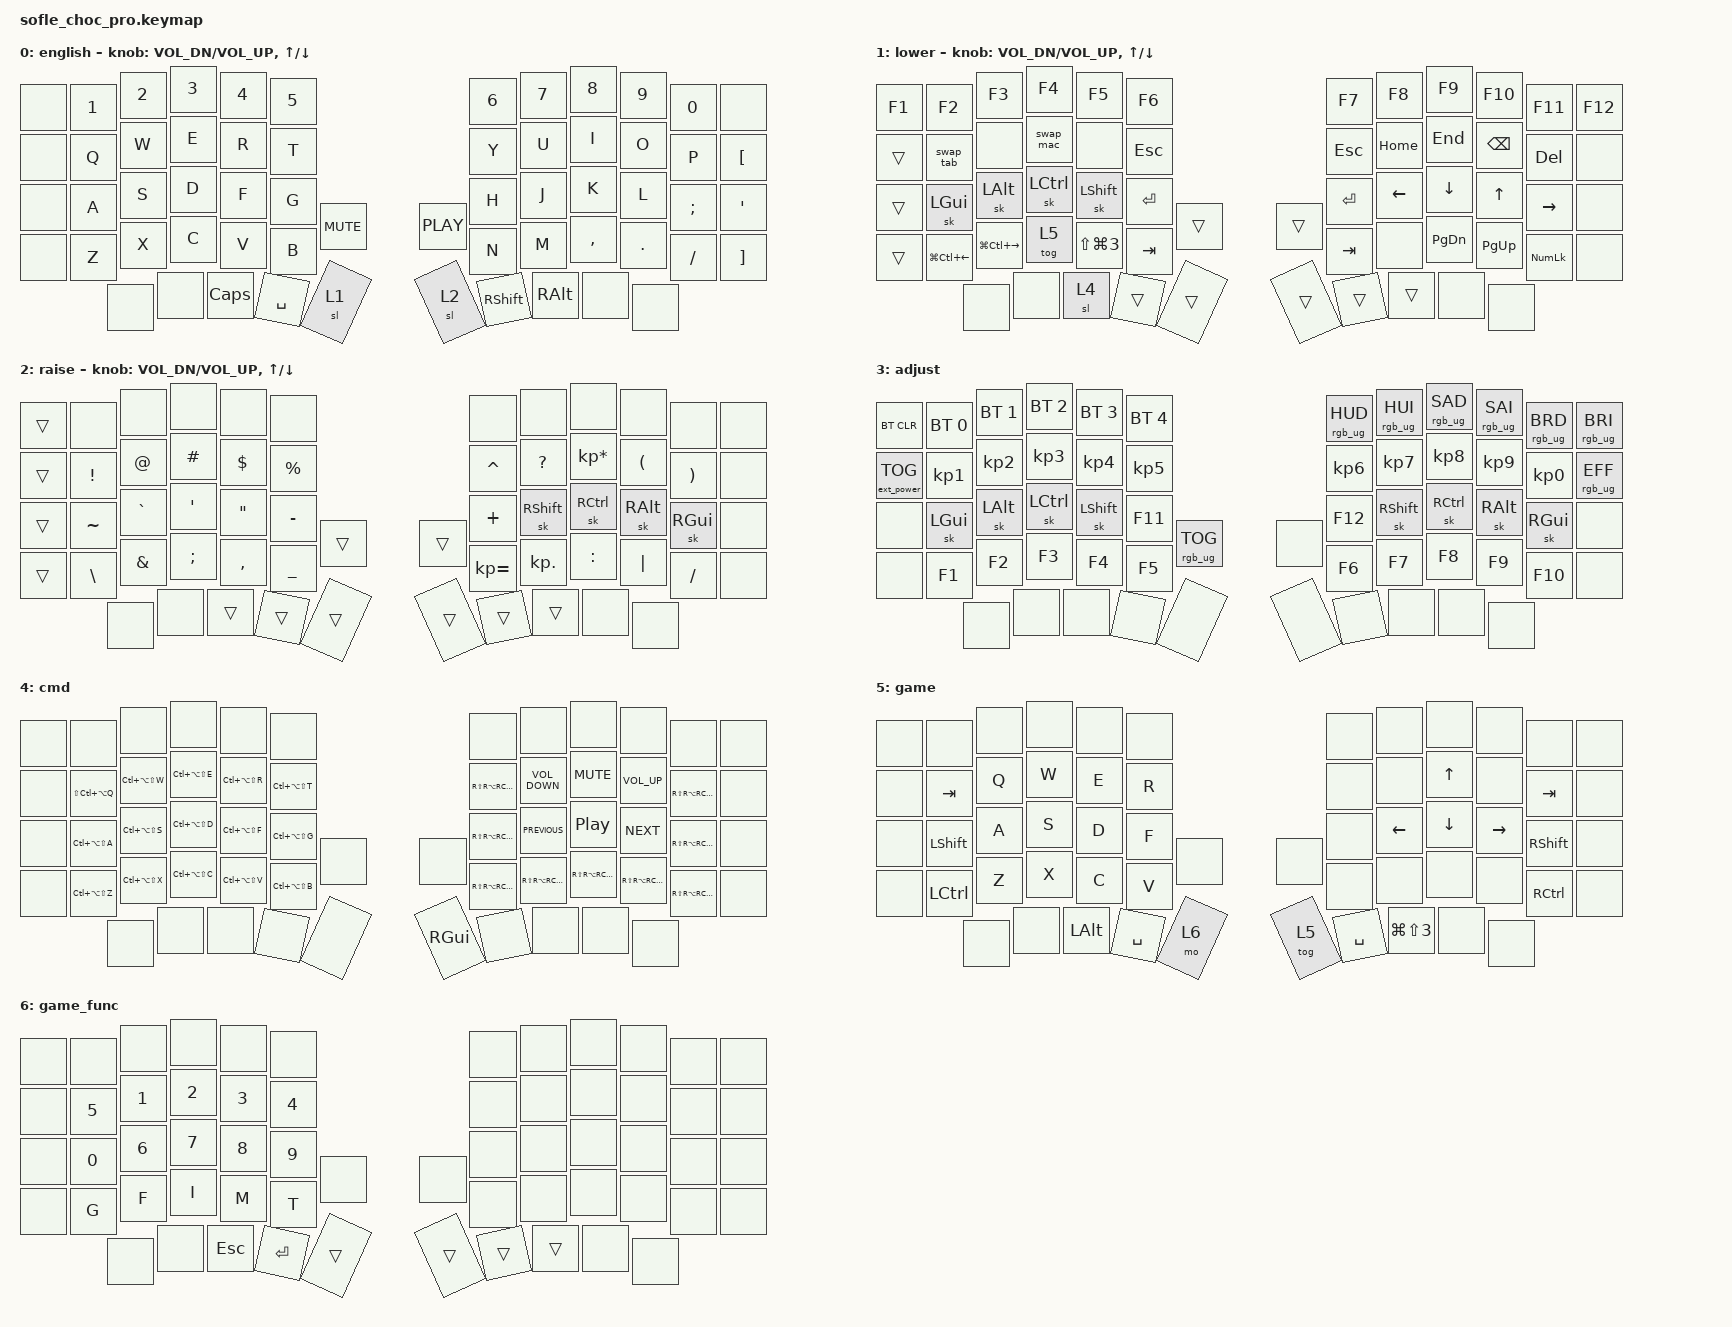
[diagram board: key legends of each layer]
/*
* Copyright (c) 2020 The ZMK Contributors
*
* SPDX-License-Identifier: MIT
*/

#include <behaviors.dtsi>
#include <dt-bindings/zmk/bt.h>
#include <dt-bindings/zmk/ext_power.h>
#include <dt-bindings/zmk/keys.h>
#include <dt-bindings/zmk/rgb.h>

#define ENGLISH 0
#define LOWER 1
#define RAISE 2
#define ADJUST 3

&mt { flavor = "balanced"; };

/ {
    // Activate ADJUST layer by pressing raise and lower

    conditional_layers {
        compatible = "zmk,conditional-layers";

        adjust_layer {
            if-layers = <1 2>;
            then-layer = <3>;
        };
    };

    macros {
        nspc: nspc {
            compatible = "zmk,behavior-macro";
            #binding-cells = <0>;
            bindings = <&kp LCTRL &kp LEFT_GUI &kp RIGHT>;
            label = "NSPC";
        };

        pspc: pspc {
            compatible = "zmk,behavior-macro";
            #binding-cells = <0>;
            bindings = <&kp LCTRL &kp LEFT_GUI &kp LEFT>;
            label = "PSPC";
        };

        swap_tab: swap_tab {
            compatible = "zmk,behavior-macro";
            #binding-cells = <0>;
            bindings = <&kp LEFT_ALT &kp TAB>;
            label = "SWAP_TAB";
        };

        swap_mac: swap_mac {
            compatible = "zmk,behavior-macro";
            #binding-cells = <0>;
            bindings = <&kp LEFT_CONTROL &kp TAB>;
            label = "SWAP_MAC";
        };
    };

    keymap {
        compatible = "zmk,keymap";

        default_layer {
            display-name = "english";

            // ------------------------------------------------------------------------------------------------------------
            // |   `   |  1  |  2  |  3   |  4   |  5   |                   |  6   |  7    |  8    |  9   |   0   | BKSPC |
            // |  ESC  |  Q  |  W  |  E   |  R   |  T   |                   |  Y   |  U    |  I    |  O   |   P   | LBKT  |
            // |  TAB  |  A  |  S  |  D   |  F   |  G   |                   |  H   |  J    |  K    |  L   |   ;   |   '   |
            // | SHIFT |  Z  |  X  |  C   |  V   |  B   |  MUTE  |  | PLAY  |  N   |  M    |  ,    |  .   |   /   | RBKT  |
            //               | CTRL| ALT  | GUI  | LOWER|  ENTER |  | SPACE | RAISE|   ,   |   .   |   ?  |

            bindings = <
&none  &kp N1  &kp N2  &kp N3  &kp N4        &kp N5                             &kp N6           &kp N7         &kp N8     &kp N9   &kp N0    &none
&none  &kp Q   &kp W   &kp E   &kp R         &kp T      &kp Y                                    &kp U          &kp I      &kp O    &kp P     &kp LBKT
&none  &kp A   &kp S   &kp D   &kp F         &kp G      &kp H                                    &kp J          &kp K      &kp L    &kp SEMI  &kp SQT
&none  &kp Z   &kp X   &kp C   &kp V         &kp B      &kp C_MUTE  &kp C_PLAY  &kp N            &kp M          &kp COMMA  &kp DOT  &kp FSLH  &kp RBKT
               &none   &none   &kp CAPSLOCK  &kp SPACE  &sl 1       &sl 2       &kp RIGHT_SHIFT  &kp RIGHT_ALT  &none      &none
            >;

            sensor-bindings =
                <&inc_dec_kp C_VOL_DN C_VOL_UP>,
                <&inc_dec_kp UP_ARROW DOWN_ARROW>;
        };

        lower_layer {
            display-name = "lower";

            // ------------------------------------------------------------------------------------------------------------
            // |       |  F1 |  F2 |  F3  |  F4  |  F5  |                   |  F6  |  F7   |  F8   |  F9  |  F10  |  F11  |
            // |   `   |  1  |  2  |  3   |  4   |  5   |                   |  6   |  7    |  8    |  9   |   0   |  F12  |
            // |       |  !  |  @  |  #   |  $   |  %   |                   |  ^   |  &    |  *    |  (   |   )   |   |   |
            // |       |  =  |  -  |  +   |  {   |  }   |        |  |       |  [   |  ]    |  ;    |  :   |   \   |       |
            //               |     |      |      |      |        |  |       |      |       |       |      |

            bindings = <
&kp F1  &kp F2            &kp F3             &kp F4            &kp F5                &kp F6                          &kp F7   &kp F8    &kp F9         &kp F10        &kp F11     &kp F12
&trans  &swap_tab         &none              &swap_mac         &none                 &kp ESCAPE  &kp ESCAPE                   &kp HOME  &kp END        &kp BACKSPACE  &kp DELETE  &none
&trans  &sk LEFT_GUI      &sk LEFT_ALT       &sk LEFT_CONTROL  &sk LEFT_SHIFT        &kp RET     &kp ENTER                    &kp LEFT  &kp DOWN       &kp UP         &kp RIGHT   &none
&trans  &kp LG(LC(LEFT))  &kp LG(LC(RIGHT))  &tog 5            &kp LS(LG(NUMBER_3))  &kp TAB     &trans      &trans  &kp TAB  &none     &kp PAGE_DOWN  &kp PAGE_UP    &kp KP_NUM  &none
                          &none              &none             &sl 4                 &trans      &trans      &trans  &trans   &trans    &none          &none
            >;

            sensor-bindings =
                <&inc_dec_kp C_VOL_DN C_VOL_UP>,
                <&inc_dec_kp UP_ARROW DOWN_ARROW>;
        };

        raise_layer {
            display-name = "raise";

            // ------------------------------------------------------------------------------------------------------------
            // | BTCLR | BT1  | BT2  |  BT3  |  BT4  |  BT5 |                |      |      |       |      |       |       |
            // |       | INS  | PSCR | GUI   |       |      |                | PGUP |      |   ^   |      |       |       |
            // |       | ALT  | CTRL | SHIFT |       | CAPS |                | PGDN |   <- |   v   |  ->  |  DEL  | BKSPC |
            // |       | UNDO | CUT  | COPY  | PASTE |      |      |  |      |      |      |       |      |       |       |
            //                |      |       |       |      |      |  |      |      |      |       |      |

            bindings = <
&trans  &none            &none          &none          &none              &none                           &none         &none            &none              &none                 &none                  &none
&trans  &kp EXCLAMATION  &kp AT_SIGN    &kp HASH       &kp DOLLAR         &kp PERCENT  &kp CARET                        &kp QUESTION     &kp KP_MULTIPLY    &kp LEFT_PARENTHESIS  &kp RIGHT_PARENTHESIS  &none
&trans  &kp TILDE        &kp GRAVE      &kp SQT        &kp DOUBLE_QUOTES  &kp MINUS    &kp PLUS                         &sk RIGHT_SHIFT  &sk RIGHT_CONTROL  &sk RIGHT_ALT         &sk RIGHT_GUI          &none
&trans  &kp BACKSLASH    &kp AMPERSAND  &kp SEMICOLON  &kp COMMA          &kp UNDER    &trans     &trans  &kp KP_EQUAL  &kp KP_DOT       &kp COLON          &kp PIPE              &kp SLASH              &none
                         &none          &none          &trans             &trans       &trans     &trans  &trans        &trans           &none              &none
            >;

            sensor-bindings =
                <&inc_dec_kp C_VOL_DN C_VOL_UP>,
                <&inc_dec_kp UP_ARROW DOWN_ARROW>;
        };

        adjust_layer {
            // ----------------------------------------------------------------------------------------------------------------------------
            // | BTCLR  |  BT1    |  BT2    |   BT3   |   BT4   |   BT5   |                  |      |      |       |      |       |       |
            // | EXTPWR | RGB_HUD | RGB_HUI | RGB_SAD | RGB_SAI | RGB_EFF |                  |      |      |       |      |       |       |
            // |        | RGB_BRD | RGB_BRI |         |         |         |                  |      |      |       |      |       |       |
            // |        |         |         |         |         |         | RGB_TOG | |      |      |      |       |      |       |       |
            //                    |         |         |         |         |         | |      |      |      |       |      |

            display-name = "adjust";
            bindings = <
&bt BT_CLR         &bt BT_SEL 0     &bt BT_SEL 1     &bt BT_SEL 2      &bt BT_SEL 3     &bt BT_SEL 4                             &rgb_ug RGB_HUD  &rgb_ug RGB_HUI  &rgb_ug RGB_SAD    &rgb_ug RGB_SAI  &rgb_ug RGB_BRD  &rgb_ug RGB_BRI
&ext_power EP_TOG  &kp KP_NUMBER_1  &kp KP_NUMBER_2  &kp KP_NUMBER_3   &kp KP_NUMBER_4  &kp KP_NUMBER_5  &kp KP_NUMBER_6                          &kp KP_NUMBER_7  &kp KP_NUMBER_8    &kp KP_NUMBER_9  &kp KP_NUMBER_0  &rgb_ug RGB_EFF
&none              &sk LEFT_GUI     &sk LEFT_ALT     &sk LEFT_CONTROL  &sk LEFT_SHIFT   &kp F11          &kp F12                                  &sk RIGHT_SHIFT  &sk RIGHT_CONTROL  &sk RIGHT_ALT    &sk RIGHT_GUI    &none
&none              &kp F1           &kp F2           &kp F3            &kp F4           &kp F5           &rgb_ug RGB_TOG  &none  &kp F6           &kp F7           &kp F8             &kp F9           &kp F10          &none
                                    &none            &none             &none            &none            &none            &none  &none            &none            &none              &none
            >;
        };

        cmd {
            bindings = <
&none  &none              &none              &none              &none              &none                                                &none              &none              &none                  &none                &none                 &none
&none  &kp LS(LC(LA(Q)))  &kp LC(LA(LS(W)))  &kp LC(LA(LS(E)))  &kp LC(LA(LS(R)))  &kp LC(LA(LS(T)))  &kp RS(RA(RC(Y)))                                    &kp C_VOLUME_DOWN  &kp K_MUTE             &kp C_VOLUME_UP      &kp RS(RA(RC(P)))     &none
&none  &kp LC(LA(LS(A)))  &kp LC(LA(LS(S)))  &kp LC(LA(LS(D)))  &kp LC(LA(LS(F)))  &kp LC(LA(LS(G)))  &kp RS(RA(RC(H)))                                    &kp C_PREVIOUS     &kp C_PLAY_PAUSE       &kp C_NEXT           &kp RS(RA(RC(SEMI)))  &none
&none  &kp LC(LA(LS(Z)))  &kp LC(LA(LS(X)))  &kp LC(LA(LS(C)))  &kp LC(LA(LS(V)))  &kp LC(LA(LS(B)))  &none              &none          &kp RS(RA(RC(N)))  &kp RS(RA(RC(M)))  &kp RS(RA(RC(COMMA)))  &kp RS(RA(RC(DOT)))  &kp RS(RA(RC(FSLH)))  &none
                          &none              &none              &none              &none              &none              &kp RIGHT_GUI  &none              &none              &none                  &none
            >;
        };

        game {
            bindings = <
&none  &none      &none  &none  &none         &none                     &none      &none                 &none     &none      &none      &none
&none  &kp TAB    &kp Q  &kp W  &kp E         &kp R      &none                     &none                 &kp UP    &none      &kp TAB    &none
&none  &kp LSHFT  &kp A  &kp S  &kp D         &kp F      &none                     &kp LEFT              &kp DOWN  &kp RIGHT  &kp RSHFT  &none
&none  &kp LCTRL  &kp Z  &kp X  &kp C         &kp V      &none  &none   &none      &none                 &none     &none      &kp RCTRL  &none
                  &none  &none  &kp LEFT_ALT  &kp SPACE  &mo 6  &tog 5  &kp SPACE  &kp LG(LS(NUMBER_3))  &none     &none
            >;
        };

        game_func {
            bindings = <
&none  &none   &none   &none   &none    &none                    &none   &none   &none  &none  &none  &none
&none  &kp N5  &kp N1  &kp N2  &kp N3   &kp N4   &none                   &none   &none  &none  &none  &none
&none  &kp N0  &kp N6  &kp N7  &kp N8   &kp N9   &none                   &none   &none  &none  &none  &none
&none  &kp G   &kp F   &kp I   &kp M    &kp T    &none   &none   &none   &none   &none  &none  &none  &none
               &none   &none   &kp ESC  &kp RET  &trans  &trans  &trans  &trans  &none  &none
            >;
        };
    };
};
